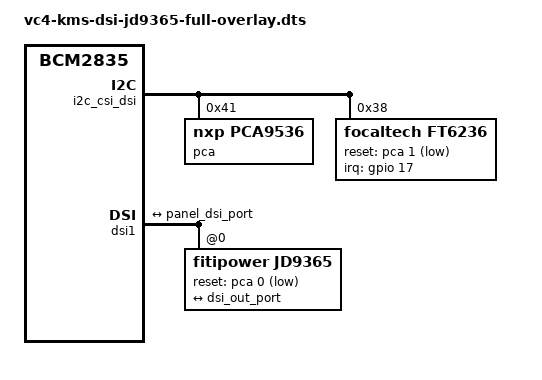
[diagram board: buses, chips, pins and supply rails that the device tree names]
// JD9365Z with CTP and PCA9536
/dts-v1/;
/plugin/;

/ {
	compatible = "brcm,bcm2835";  

	fragment@0 {
		target = <&i2c_csi_dsi>;
		__overlay__ {
			#address-cells = <1>;
			#size-cells = <0>;
			status = "okay";

			pca: pca@41 {
				compatible = "nxp,pca9536";
				reg = <0x41>;
				gpio-controller;
				#gpio-cells = <2>;
				status = "okay";
			};
		};
	};

	fragment@1 {
		target = <&dsi1>;
		__overlay__{
			status = "okay";
			#address-cells = <1>;
			#size-cells = <0>;
			port {
				dsi_out_port:endpoint {
					remote-endpoint = <&panel_dsi_port>;
				};
			};

			jd9365:jd9365@0 {
				compatible    = "fitipower,jd9365";
				status        = "okay";
				reg           = <0>;
				reset-gpios   = <&pca 0 1>;
				port {
					panel_dsi_port: endpoint {
						remote-endpoint = <&dsi_out_port>;
					};
				};
			};
		};
	};

	fragment@2 {
		target = <&i2c_csi_dsi>;
		__overlay__ {
			#address-cells = <1>;
			#size-cells = <0>;
			ft6236@38 {
				compatible = "focaltech,ft6236";
				reg = <0x38>;
				pinctrl-names = "default";
				interrupt-parent = <&gpio>;
				interrupts = <17 2>; /* rising edge */
				touchscreen-size-y = <1280>;
				touchscreen-size-x = <720>;
				touchscreen-inverted-y = <1>;
				touchscreen-inverted-x = <1>;
				reset-gpios = <&pca 1 1>; /* active low */
			};
		};
	};
};
